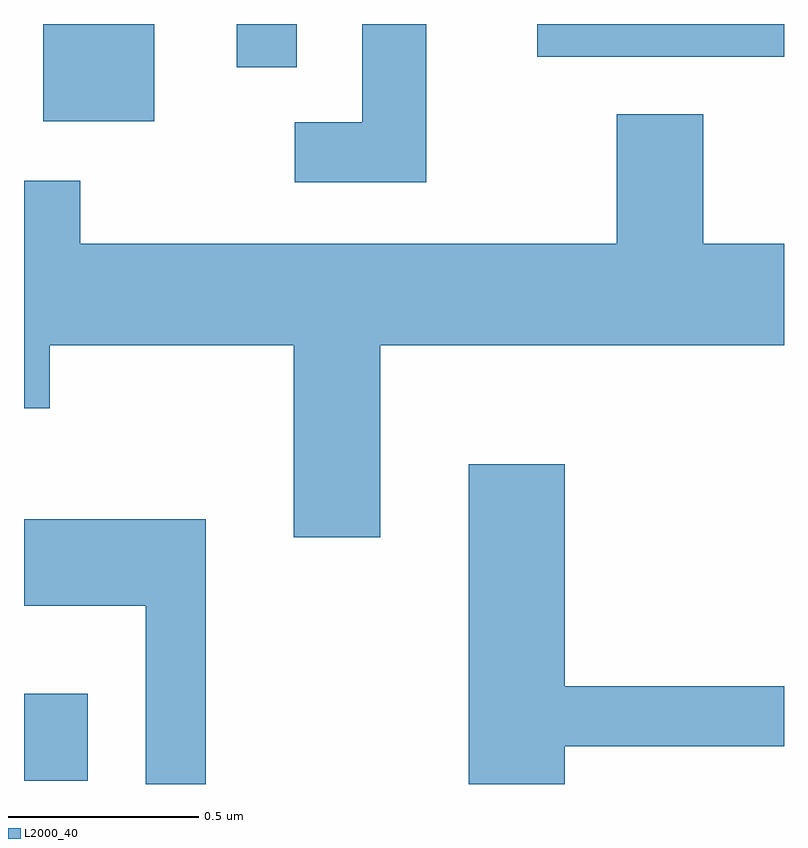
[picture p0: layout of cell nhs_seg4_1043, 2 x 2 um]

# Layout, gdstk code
import gdstk
lib = gdstk.Library(unit=1e-6, precision=1e-09)
def R(c, l, rs):  # rectangles x0, y0, x1, y1
    for r in rs: c.add(gdstk.rectangle(r[:2], r[2:], *l))
def P(c, l, *ps):  # polygons
    for p in ps: c.add(gdstk.Polygon(p, *l))
L2000_40 = (2000, 40)

nhs_seg4_1043 = lib.new_cell('nhs_seg4_1043')
R(nhs_seg4_1043, L2000_40, [(192.611,1337.991,192.779,1338.219), (192.661,1339.726,192.954,1339.982), (193.171,1339.868,193.329,1339.982), (193.961,1339.896,194.611,1339.982)])
P(nhs_seg4_1043, L2000_40, [(193.669,1339.982),(193.501,1339.982),(193.501,1339.724),(193.323,1339.724),(193.323,1339.566),(193.669,1339.566)],
  [(193.549,1339.136),(194.611,1339.136),(194.611,1339.404),(194.399,1339.404),(194.399,1339.744),(194.171,1339.744),(194.171,1339.404),(192.759,1339.404),(192.759,1339.569),(192.611,1339.569),(192.611,1338.971),(192.679,1338.971),(192.679,1339.136),(193.321,1339.136),(193.321,1338.631),(193.549,1338.631)],
  [(194.034,1338.081),(194.611,1338.081),(194.611,1338.239),(194.034,1338.239),(194.034,1338.824),(193.781,1338.824),(193.781,1337.982),(194.034,1337.982)],
  [(193.089,1338.679),(192.611,1338.679),(192.611,1338.451),(192.931,1338.451),(192.931,1337.982),(193.089,1337.982)])

lib.write_gds('nhs_seg4_1043.gds')
